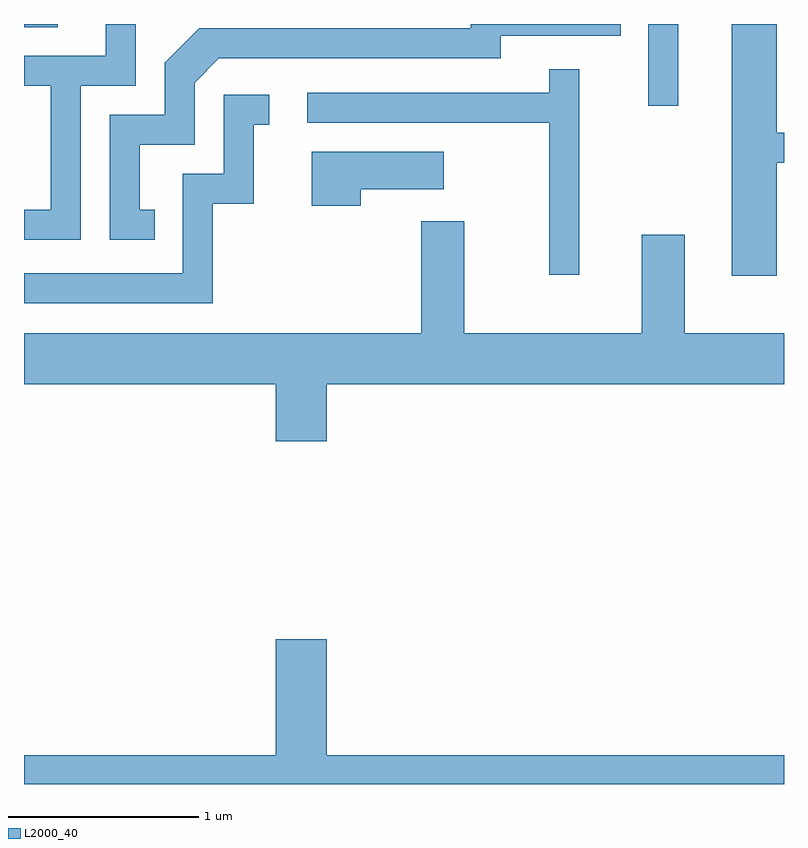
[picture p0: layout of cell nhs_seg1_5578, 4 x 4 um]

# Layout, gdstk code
import gdstk
lib = gdstk.Library(unit=1e-6, precision=1e-09)
def R(c, l, rs):  # rectangles x0, y0, x1, y1
    for r in rs: c.add(gdstk.rectangle(r[:2], r[2:], *l))
def P(c, l, *ps):  # polygons
    for p in ps: c.add(gdstk.Polygon(p, *l))
L2000_40 = (2000, 40)

nhs_seg1_5578 = lib.new_cell('nhs_seg1_5578')
R(nhs_seg1_5578, L2000_40, [(356.896,883.283,357.054,883.712), (353.611,883.696,353.789,883.712)])
P(nhs_seg1_5578, L2000_40, [(353.909,883.386),(354.199,883.386),(354.199,883.712),(354.041,883.712),(354.041,883.544),(353.611,883.544),(353.611,883.386),(353.751,883.386),(353.751,882.734),(353.611,882.734),(353.611,882.576),(353.909,882.576)],
  [(357.574,882.981),(357.611,882.981),(357.611,883.139),(357.574,883.139),(357.574,883.712),(357.336,883.712),(357.336,882.386),(357.574,882.386)],
  [(354.298,882.734),(354.219,882.734),(354.219,883.076),(354.509,883.076),(354.509,883.404),(354.637,883.531),(356.119,883.531),(356.119,883.651),(356.753,883.651),(356.753,883.712),(355.961,883.712),(355.961,883.689),(354.534,883.689),(354.351,883.507),(354.351,883.234),(354.061,883.234),(354.061,882.576),(354.298,882.576)],
  [(356.534,883.473),(356.376,883.473),(356.376,883.349),(355.103,883.349),(355.103,883.191),(356.376,883.191),(356.376,882.393),(356.534,882.393)],
  [(354.604,882.766),(354.819,882.766),(354.819,883.181),(354.903,883.181),(354.903,883.339),(354.661,883.339),(354.661,882.924),(354.446,882.924),(354.446,882.399),(353.611,882.399),(353.611,882.241),(354.604,882.241)],
  [(355.384,882.841),(355.819,882.841),(355.819,883.039),(355.126,883.039),(355.126,882.756),(355.384,882.756)],
  [(355.204,881.816),(357.611,881.816),(357.611,882.084),(357.089,882.084),(357.089,882.604),(356.861,882.604),(356.861,882.084),(355.929,882.084),(355.929,882.674),(355.701,882.674),(355.701,882.084),(353.611,882.084),(353.611,881.816),(354.936,881.816),(354.936,881.516),(355.204,881.516)],
  [(357.611,879.864),(355.204,879.864),(355.204,880.474),(354.936,880.474),(354.936,879.864),(353.611,879.864),(353.611,879.712),(357.611,879.712)])

lib.write_gds('nhs_seg1_5578.gds')
